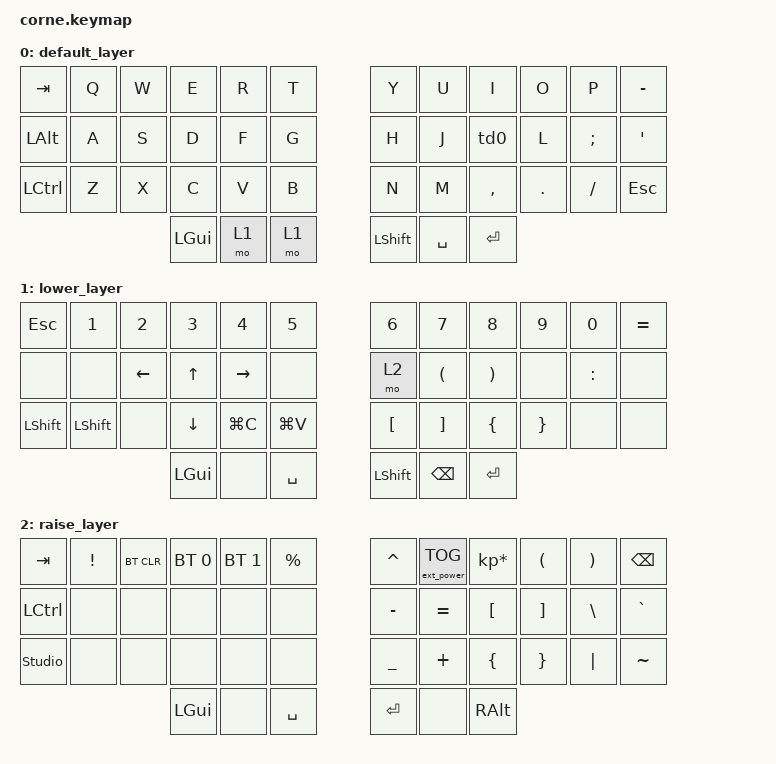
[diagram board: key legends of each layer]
#include <behaviors.dtsi>
#include <dt-bindings/zmk/keys.h>
#include <dt-bindings/zmk/bt.h>
#include <dt-bindings/zmk/ext_power.h>

/ {
            behaviors {
         td0: tap_dance_0 {
            compatible = "zmk,behavior-tap-dance";
            #binding-cells = <0>;
            tapping-term-ms = <175>;
            bindings = <&kp Q>, <&kp N1>;
        };
        td1: tap_dance_1 {
            compatible = "zmk,behavior-tap-dance";
            #binding-cells = <0>;
            tapping-term-ms = <175>;
            bindings = <&kp W>, <&kp N2>;
        };
        td2: tap_dance_2 {
            compatible = "zmk,behavior-tap-dance";
            #binding-cells = <0>;
            tapping-term-ms = <175>;
            bindings = <&kp E>, <&kp N3>;
        };
        td3: tap_dance_3 {
            compatible = "zmk,behavior-tap-dance";
            #binding-cells = <0>;
            tapping-term-ms = <175>;
            bindings = <&kp R>, <&kp N4>;
        };
        td4: tap_dance_4 {
            compatible = "zmk,behavior-tap-dance";
            #binding-cells = <0>;
            tapping-term-ms = <175>;
            bindings = <&kp T>, <&kp N5>;
        };
        td5: tap_dance_5 {
            compatible = "zmk,behavior-tap-dance";
            #binding-cells = <0>;
            tapping-term-ms = <175>;
            bindings = <&kp Y>, <&kp N6>;
        };
        td6: tap_dance_6 {
            compatible = "zmk,behavior-tap-dance";
            #binding-cells = <0>;
            tapping-term-ms = <175>;
            bindings = <&kp U>, <&kp N7>;
        };
        td7: tap_dance_7 {
            compatible = "zmk,behavior-tap-dance";
            #binding-cells = <0>;
            tapping-term-ms = <175>;
            bindings = <&kp I>, <&kp N8>;
        };
        td8: tap_dance_8 {
            compatible = "zmk,behavior-tap-dance";
            #binding-cells = <0>;
            tapping-term-ms = <175>;
            bindings = <&kp O>, <&kp N9>;
        };
        td9: tap_dance_9 {
            compatible = "zmk,behavior-tap-dance";
            #binding-cells = <0>;
            tapping-term-ms = <175>;
            bindings = <&kp P>, <&kp N0>;
        };
        td10: tap_dance_10 {
            compatible = "zmk,behavior-tap-dance";
            #binding-cells = <0>;
            tapping-term-ms = <175>;
            bindings = <&kp V>, <&kp LG(C)>;
        };
        td11: tap_dance_11 {
            compatible = "zmk,behavior-tap-dance";
            #binding-cells = <0>;
            tapping-term-ms = <175>;
            bindings = <&kp B>, <&kp LG(V)>;
        };
        td12: tap_dance_12 {
            compatible = "zmk,behavior-tap-dance";
            #binding-cells = <0>;
            tapping-term-ms = <175>;
            bindings = <&kp G>, <&kp LG(S)>;
        };
        td13: tap_dance_13 {
            compatible = "zmk,behavior-tap-dance";
            #binding-cells = <0>;
            tapping-term-ms = <175>;
            bindings = <&kp S>, <&kp LEFT>;
        };
        td14: tap_dance_14 {
            compatible = "zmk,behavior-tap-dance";
            #binding-cells = <0>;
            tapping-term-ms = <175>;
            bindings = <&kp F>, <&kp RIGHT>;
        };
        td15: tap_dance_15 {
            compatible = "zmk,behavior-tap-dance";
            #binding-cells = <0>;
            tapping-term-ms = <175>;
            bindings = <&kp D>, <&kp UP>;
        };
        td16: tap_dance_16 {
            compatible = "zmk,behavior-tap-dance";
            #binding-cells = <0>;
            tapping-term-ms = <175>;
            bindings = <&kp C>, <&kp DOWN>;
        };
        td17: tap_dance_17 {
            compatible = "zmk,behavior-tap-dance";
            #binding-cells = <0>;
            tapping-term-ms = <175>;
            bindings = <&kp J>, <&kp LPAR>;
        };
        td18: tap_dance_18 {
            compatible = "zmk,behavior-tap-dance";
            #binding-cells = <0>;
            tapping-term-ms = <175>;
            bindings = <&kp K>, <&kp RPAR>;
        };
        td19: tap_dance_19 {
            compatible = "zmk,behavior-tap-dance";
            #binding-cells = <0>;
            tapping-term-ms = <175>;
            bindings = <&kp N>, <&kp LBKT>;
        };
        td20: tap_dance_20 {
            compatible = "zmk,behavior-tap-dance";
            #binding-cells = <0>;
            tapping-term-ms = <175>;
            bindings = <&kp M>, <&kp RBKT>;
        };
        td21: tap_dance_21 {
            compatible = "zmk,behavior-tap-dance";
            #binding-cells = <0>;
            tapping-term-ms = <175>;
            bindings = <&kp COMMA>, <&kp LBRC>;
        };
        td22: tap_dance_22 {
            compatible = "zmk,behavior-tap-dance";
            #binding-cells = <0>;
            tapping-term-ms = <175>;
            bindings = <&kp DOT>, <&kp RBRC>;
        };
        td23: tap_dance_23 {
            compatible = "zmk,behavior-tap-dance";
            #binding-cells = <0>;
            tapping-term-ms = <175>;
            bindings = <&kp H>, <&kp MINUS>;
        };
        td24: tap_dance_24 {
            compatible = "zmk,behavior-tap-dance";
            #binding-cells = <0>;
            tapping-term-ms = <175>;
            bindings = <&kp L>, <&kp PLUS>;
        };
        td25: tap_dance_25 {
            compatible = "zmk,behavior-tap-dance";
            #binding-cells = <0>;
            tapping-term-ms = <175>;
            bindings = <&kp V>, <&kp LC(C)>;
        };
        td26: tap_dance_26 {
            compatible = "zmk,behavior-tap-dance";
            #binding-cells = <0>;
            tapping-term-ms = <175>;
            bindings = <&kp B>, <&kp LC(V)>;
        };
    };
        keymap {
                compatible = "zmk,keymap";

                default_layer {

                        bindings = <
   &kp TAB   &kp Q &kp W &kp E &kp R &kp T   &kp Y &kp U  &kp I     &kp O   &kp P    &kp MINUS
   &kp LALT &kp A &kp S &kp D &kp F &kp G   &kp H &kp J  &td0     &kp L   &kp SEMI &kp SQT
   &kp LCTRL &kp Z &kp X &kp C &kp V &kp B   &kp N &kp M  &kp COMMA &kp DOT &kp FSLH &kp ESC
                  &kp LGUI &mo 1 &mo 1  &kp LSHFT &kp SPACE &kp RET
                        >;
                };
                lower_layer {
                        bindings = <
   &kp ESC  &kp N1  &kp N2  &kp N3  &kp N4  &kp N5         &kp N6   &kp N7   &kp N8 &kp N9    &kp N0 &kp EQUAL
   &none &none &kp LEFT &kp UP &kp RIGHT &none             &mo 2 &kp LPAR &kp RPAR &none &kp COLON &none
   &kp LSHFT  &kp LSHFT  &none  &kp DOWN  &kp LG(C)  &kp LG(V)   &kp LBKT  &kp RBKT  &kp LBRC  &kp RBRC  &none  &none
                           &kp LGUI  &none  &kp SPACE      &kp LSHFT  &kp BSPC   &kp RET
                        >;
                };

                raise_layer {
                        bindings = <
   &kp  TAB  &kp EXCL &bt BT_CLR &bt BT_SEL 0 &bt BT_SEL 1 &kp PRCNT   &kp CARET &ext_power EP_TOG &kp KP_MULTIPLY &kp LPAR &kp RPAR &kp BSPC
   &kp LCTRL &none   &none &none   &none   &none      &kp MINUS &kp EQUAL &kp LBKT        &kp RBKT &kp BSLH &kp GRAVE
   &studio_unlock &none   &none &none   &none   &none      &kp UNDER &kp PLUS  &kp LBRC        &kp RBRC &kp PIPE &kp TILDE
                             &kp LGUI &none   &kp SPACE   &kp RET   &none    &kp RALT
                        >;
                };
        };
};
